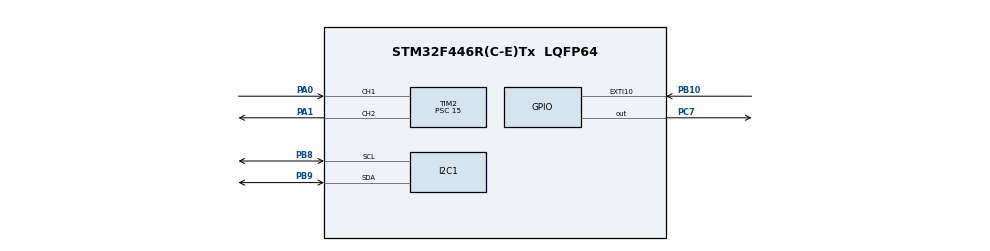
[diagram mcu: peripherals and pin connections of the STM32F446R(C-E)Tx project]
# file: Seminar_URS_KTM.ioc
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Mcu.Family=STM32F4
Mcu.Name=STM32F446R(C-E)Tx
Mcu.Package=LQFP64
NVIC.EXTI15_10_IRQn=true\:3\:0\:true\:false\:true\:true\:true\:true
NVIC.PriorityGroup=NVIC_PRIORITYGROUP_4
NVIC.TIM2_IRQn=true\:5\:0\:true\:false\:true\:true\:true\:true
NVIC.TIM6_DAC_IRQn=true\:4\:0\:true\:false\:true\:true\:true\:true
PA0-WKUP.Signal=S_TIM2_CH1_ETR
PA1.Signal=S_TIM2_CH2
PA13.Mode=Serial_Wire
PA13.Signal=SYS_JTMS-SWDIO
PA14.Mode=Serial_Wire
PA14.Signal=SYS_JTCK-SWCLK
PB10.GPIO_ModeDefaultEXTI=GPIO_MODE_IT_FALLING
PB10.GPIO_PuPd=GPIO_PULLUP
PB10.Signal=GPXTI10
PB8.GPIO_Pu=GPIO_PULLUP
PB8.Mode=I2C
PB8.Signal=I2C1_SCL
PB9.GPIO_Pu=GPIO_PULLUP
PB9.Mode=I2C
PB9.Signal=I2C1_SDA
PC7.Signal=GPIO_Output
ProjectManager.HeapSize=0x200
ProjectManager.StackSize=0x400
ProjectManager.TargetToolchain=STM32CubeIDE
RCC.CortexFreq_Value=16000000
RCC.USBFreq_Value=96000000
RCC.VCOOutputFreq_Value=192000000
SH.S_TIM2_CH1_ETR.0=TIM2_CH1,Input_Capture1_from_TI1
SH.S_TIM2_CH2.0=TIM2_CH2,Output Compare2 CH2
TIM2.Channel-Input_Capture1_from_TI1=TIM_CHANNEL_1
TIM2.Channel-Output\ Compare2\ CH2=TIM_CHANNEL_2
TIM2.ICPolarity_CH1=TIM_INPUTCHANNELPOLARITY_BOTHEDGE
TIM2.OCMode_2=TIM_OCMODE_TOGGLE
TIM2.Prescaler=15
TIM6.Period=199
TIM6.Prescaler=15999
VP_TIM6_VS_ClockSourceINT.Mode=Enable_Timer
board=custom

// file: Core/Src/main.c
/* USER CODE BEGIN Header */
/**
  ******************************************************************************
  * @file           : main.c
  * @brief          : Main program body
  ******************************************************************************
  * @attention
  *
  * Copyright (c) 2025 STMicroelectronics.
  * All rights reserved.
  *
  * This software is licensed under terms that can be found in the LICENSE file
  * in the root directory of this software component.
  * If no LICENSE file comes with this software, it is provided AS-IS.
  *
  ******************************************************************************
  */
/* USER CODE END Header */
#include "main.h"
#include "i2c.h"
#include "tim.h"
#include "gpio.h"

/* USER CODE BEGIN Includes */
#include "LCD_i2c.h"
/* USER CODE END Includes */

/* USER CODE BEGIN PD */
#define TRIG_PORT GPIOA
#define TRIG_PIN  GPIO_PIN_1
#define ECHO_PORT GPIOA
#define ECHO_PIN  GPIO_PIN_0
#define PIEZO_PORT GPIOC
#define PIEZO_PIN  GPIO_PIN_7

#define full  2  //definirana udaljenost za puni spremnik

/* USER CODE END PD */

/* USER CODE BEGIN PV */
static int empty = 0;
static uint32_t start = 0;
static uint32_t duration = 0;
volatile int lcdOn = 1;
int lcdPrev = 1;

/* USER CODE END PV */

void SystemClock_Config(void);
/* USER CODE BEGIN PFP */
void HAL_TIM_IC_capturetureCallback(TIM_HandleTypeDef *htim);
void TIM2_IRQHandler(void);
static int HCSR04_ReadInt(void);
/* USER CODE END PFP */

/* USER CODE BEGIN 0 */
static int HCSR04_ReadInt(void){
   duration = 0;

   // Generiranje visokog signala 10 µs preko TIM2_CH2
   __HAL_TIM_SET_COUNTER(&htim2, 0);
   __HAL_TIM_SET_COMPARE(&htim2, TIM_CHANNEL_2, 10);
   HAL_TIM_OC_Start(&htim2, TIM_CHANNEL_2);

   //Provjera dolaska signala nazad
   uint32_t limit = HAL_GetTick() + 20 ;
       while (duration == 0 && HAL_GetTick() < limit);
       HAL_TIM_OC_Stop(&htim2, TIM_CHANNEL_2);

       if (duration == 0 || duration > 30000){
    	   return -1;
       }
       return (int)duration*(((343.0f*100.0f)/1000000.0f)/2.0f); //izracun udaljenosti
   }

void HAL_TIM_IC_CaptureCallback(TIM_HandleTypeDef *htim) {
    if (htim->Instance == TIM2 && htim->Channel == HAL_TIM_ACTIVE_CHANNEL_1){
        uint32_t capture = HAL_TIM_ReadCapturedValue(htim, TIM_CHANNEL_1);
        if (HAL_GPIO_ReadPin(ECHO_PORT, ECHO_PIN) == GPIO_PIN_SET) {
            start = capture;
        }
        else {
            uint32_t low = capture;
            if (low >= start){
                duration = low - start;
            }
            else duration = (__HAL_TIM_GET_AUTORELOAD(htim) - start) + low;
        }
    }
}

void TIM2_IRQHandler(void) {
    HAL_TIM_IRQHandler(&htim2);
}

/* USER CODE END 0 */

int main(void)
{

  /* USER CODE BEGIN 1 */
	 char buf[17];
		    int sum;
  /* USER CODE END 1 */

  /* MCU Configuration--------------------------------------------------------*/

  /* Reset of all peripherals, Initializes the Flash interface and the Systick. */
  HAL_Init();

  /* Configure the system clock */
  SystemClock_Config();

  /* Initialize all configured peripherals */
  MX_GPIO_Init();
  MX_I2C1_Init();
  MX_TIM6_Init();
  MX_TIM2_Init();
  /* USER CODE BEGIN 2 */

  	  HAL_TIM_Base_Start(&htim2);
      HAL_TIM_IC_Start_IT(&htim2, TIM_CHANNEL_1);
      HAL_TIM_OC_Start(&htim2, TIM_CHANNEL_2);

      // LCD inicijalizacija
      HD44780_Init(2);
      HD44780_Backlight();
      HAL_Delay(100);

      //kalibracija za dobivanje praznog spremnika
	  HD44780_Clear();
      HD44780_SetCursor(0,0);
      HD44780_PrintStr("kalibracija...");
      sum = 0;
      for (int i = 0; i <10; i++){
          int d = HCSR04_ReadInt();
            if (d >= 0) {         //uzimamo samo udaljenosti vece od 0
        	  sum = sum + d;
          }
          HAL_Delay(20);
      }
      empty = sum / 10;

      //ispis
      HD44780_Clear();
      HD44780_SetCursor(0,0);
      snprintf(buf, sizeof(buf), "Prazan:%d cm", empty);
      HD44780_PrintStr(buf);
       HAL_Delay(1000);

  /* USER CODE END 2 */

  /* Infinite loop */
  /* USER CODE BEGIN WHILE */
  while (1)
  {
	  //paljenje i gašenje lcd ekrana
	  if (lcdOn != lcdPrev) {
	      	    if (lcdOn)  HD44780_Display();
	      	    else  HD44780_NoDisplay();
	      	    lcdPrev = lcdOn;
	      	}
      //Čitanje udaljenosti
	  int distance = HCSR04_ReadInt();

	 if (distance < 0){
		  distance = empty;
	  }
	  //Izracun napunjenosti u cm
	  int level = empty - distance;

	  //Određivanje maksimalne razine spremnika
	  int max_level = empty - full;

	  if (max_level < 1){
		  max_level = 1;
	  }

	  //Pretvorba u postotak
	  int percent;

	  if (distance <= full){
		  percent = 100;
	  }
	    else if (level <= 0){
	    	percent = 0;
	    }
	      else if (level >= max_level){
	    	  percent = 100;
	      }
	        else percent = (level * 100 + max_level/2) / max_level;

	          //Ispis postotka na ekranu
	          HD44780_Clear();
	          HD44780_SetCursor(0,0);      //Postavljanje kursora na prvo mjesto u prvom redu
	          snprintf(buf, sizeof(buf), "%d%%", percent);
	          HD44780_PrintStr(buf);

	          //Graficki prikaz napunjenosti
	          HD44780_SetCursor(0,1);        //Postavljanje kursora na prvo mjesto u drugom redu
	          int filled = percent * 16 / 100;  //koliko kvadrata treba biti ispunjeno

	          for (int i = 0; i < 16; i++){
	        	  if (i < filled){
	        	         buf[i] = 0xFF;         //puni blok
	        	  }
	        	         else buf[i] = ' ';       //prazno polje
	          }

	          buf[16] = '\0';
	          HD44780_PrintStr(buf);
	          HAL_Delay(200);

	       //Paljenje piezo zujalice na 100% napunjenosti
	       if (percent == 100  && lcdOn == 1) {
	        HAL_GPIO_WritePin(PIEZO_PORT, PIEZO_PIN, GPIO_PIN_SET);
	        HAL_Delay(500);

	        HAL_GPIO_WritePin(PIEZO_PORT, PIEZO_PIN, GPIO_PIN_RESET);
	        HAL_Delay(500);
	    }

    /* USER CODE END WHILE */

  }
}

void SystemClock_Config(void)
{
  RCC_OscInitTypeDef RCC_OscInitStruct = {0};
  RCC_ClkInitTypeDef RCC_ClkInitStruct = {0};

  /** Configure the main internal regulator output voltage
  */
  __HAL_RCC_PWR_CLK_ENABLE();
  __HAL_PWR_VOLTAGESCALING_CONFIG(PWR_REGULATOR_VOLTAGE_SCALE3);

  /** Initializes the RCC Oscillators according to the specified parameters
  * in the RCC_OscInitTypeDef structure.
  */
  RCC_OscInitStruct.OscillatorType = RCC_OSCILLATORTYPE_HSI;
  RCC_OscInitStruct.HSIState = RCC_HSI_ON;
  RCC_OscInitStruct.HSICalibrationValue = RCC_HSICALIBRATION_DEFAULT;
  RCC_OscInitStruct.PLL.PLLState = RCC_PLL_NONE;
  if (HAL_RCC_OscConfig(&RCC_OscInitStruct) != HAL_OK)
  {
    Error_Handler();
  }

  /** Initializes the CPU, AHB and APB buses clocks
  */
  RCC_ClkInitStruct.ClockType = RCC_CLOCKTYPE_HCLK|RCC_CLOCKTYPE_SYSCLK
                              |RCC_CLOCKTYPE_PCLK1|RCC_CLOCKTYPE_PCLK2;
  RCC_ClkInitStruct.SYSCLKSource = RCC_SYSCLKSOURCE_HSI;
  RCC_ClkInitStruct.AHBCLKDivider = RCC_SYSCLK_DIV1;
  RCC_ClkInitStruct.APB1CLKDivider = RCC_HCLK_DIV1;
  RCC_ClkInitStruct.APB2CLKDivider = RCC_HCLK_DIV1;

  if (HAL_RCC_ClockConfig(&RCC_ClkInitStruct, FLASH_LATENCY_0) != HAL_OK)
  {
    Error_Handler();
  }
}

void Error_Handler(void)
{
  __disable_irq();
  while (1)
  {
  }
}
